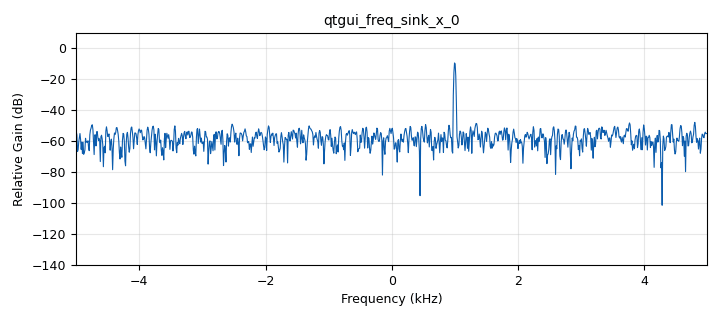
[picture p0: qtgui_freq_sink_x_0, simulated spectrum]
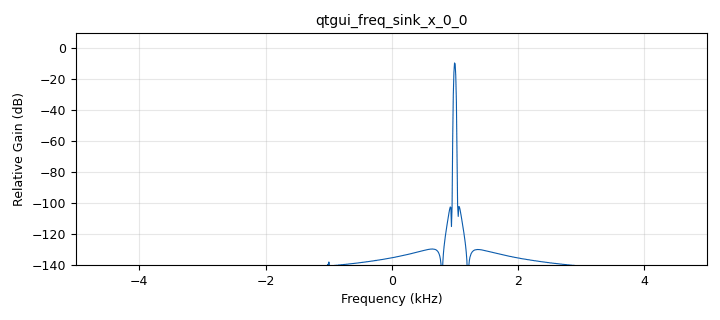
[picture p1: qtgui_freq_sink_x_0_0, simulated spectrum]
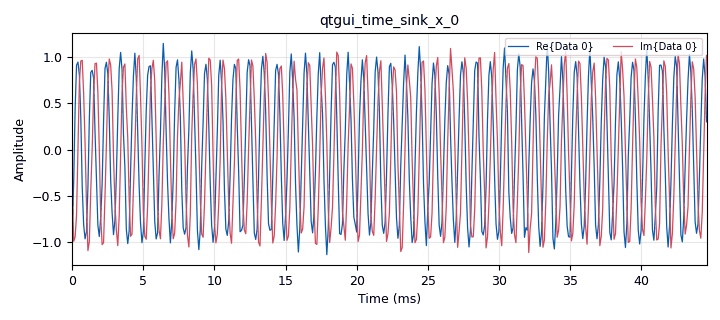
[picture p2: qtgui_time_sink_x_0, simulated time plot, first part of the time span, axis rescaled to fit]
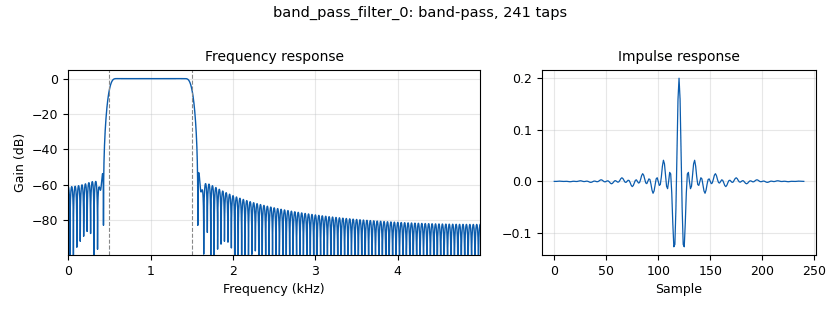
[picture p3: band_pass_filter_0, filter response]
options:
  parameters:
    generate_options: qt_gui
    id: untitled
    output_language: python
    title: Not titled yet
  states: {}

blocks:
- name: F
  id: variable
  parameters:
    value: 1e3
  states: {}
- name: Noise
  id: variable
  parameters:
    value: '0.1'
  states: {}
- name: bandwith
  id: variable
  parameters:
    value: samp_rate / 10
  states: {}
- name: samp_rate
  id: variable
  parameters:
    value: 1e4
  states: {}
- name: analog_noise_source_x_0
  id: analog_noise_source_x
  parameters:
    amp: Noise
    noise_type: analog.GR_GAUSSIAN
    seed: '0'
    type: complex
  states: {}
- name: analog_sig_source_x_0
  id: analog_sig_source_x
  parameters:
    amp: '1'
    freq: F
    offset: '0'
    phase: '0'
    samp_rate: samp_rate
    type: complex
    waveform: analog.GR_SIN_WAVE
  states: {}
- name: band_pass_filter_0
  id: band_pass_filter
  parameters:
    decim: '1'
    gain: '1'
    high_cutoff_freq: F + bandwith / 2
    low_cutoff_freq: F - bandwith / 2
    samp_rate: samp_rate
    type: fir_filter_ccf
    width: 1e2
    win: window.WIN_HAMMING
  states: {}
- name: blocks_add_xx_0
  id: blocks_add_xx
  parameters:
    type: complex
  states: {}
- name: blocks_throttle2_0
  id: blocks_throttle2
  parameters:
    samples_per_second: samp_rate
    type: complex
  states: {}
- name: qtgui_freq_sink_x_0
  id: qtgui_freq_sink_x
  parameters:
    bw: samp_rate
    fc: '0'
    fftsize: '1024'
    type: complex
  states: {}
- name: qtgui_freq_sink_x_0_0
  id: qtgui_freq_sink_x
  parameters:
    bw: samp_rate
    fc: '0'
    fftsize: '1024'
    type: complex
  states: {}
- name: qtgui_time_sink_x_0
  id: qtgui_time_sink_x
  parameters:
    size: '1024'
    srate: samp_rate
    type: complex
  states: {}

connections:
- [analog_noise_source_x_0, '0', blocks_add_xx_0, '0']
- [analog_sig_source_x_0, '0', band_pass_filter_0, '0']
- [analog_sig_source_x_0, '0', blocks_add_xx_0, '1']
- [band_pass_filter_0, '0', qtgui_freq_sink_x_0_0, '0']
- [blocks_add_xx_0, '0', blocks_throttle2_0, '0']
- [blocks_throttle2_0, '0', qtgui_freq_sink_x_0, '0']
- [blocks_throttle2_0, '0', qtgui_time_sink_x_0, '0']

metadata:
  file_format: 1
  grc_version: 3.10.12.0
